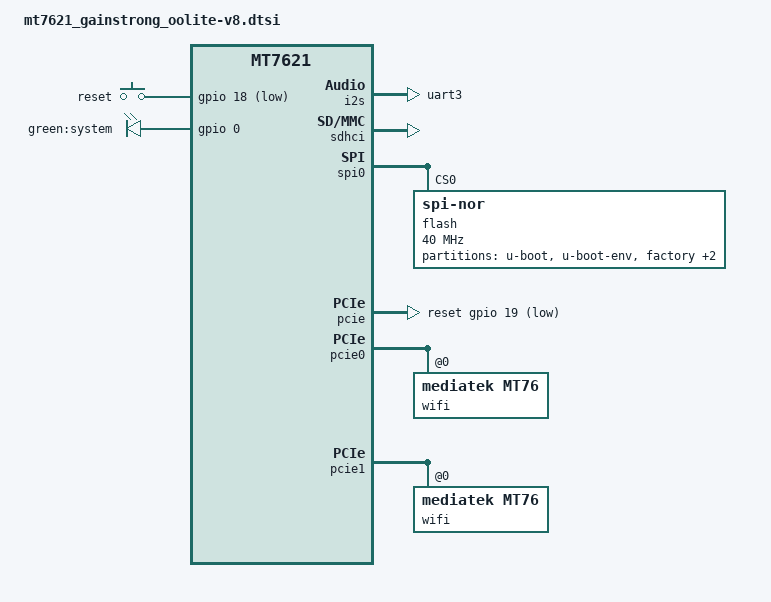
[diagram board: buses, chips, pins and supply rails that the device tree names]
#include "mt7621.dtsi"

#include <dt-bindings/gpio/gpio.h>
#include <dt-bindings/input/input.h>

/ {
	compatible = "gainstrong,oolite-v8", "mediatek,mt7621-soc";

	keys {
		compatible = "gpio-keys";

		reset {
			label = "reset";
			gpios = <&gpio 18 GPIO_ACTIVE_LOW>;
			linux,code = <KEY_RESTART>;
		};
	};

	leds {
		compatible = "gpio-leds";

		system {
			label = "green:system";
			gpios = <&gpio 0 GPIO_ACTIVE_HIGH>;
		};
	};

	codec: max98357a {
		compatible = "maxim,max98357a";
		#sound-dai-cells = <0>;
	};

	// sound {
	// 	compatible = "simple-audio-card";
	// 	simple-audio-card,name = "Audio-I2S";
	// 	simple-audio-card,format = "i2s";
	// 	simple-audio-card,bitclock-master = <&dailink0_master>;
	// 	simple-audio-card,frame-master = <&dailink0_master>;
	// 	simple-audio-card,widgets =
	// 		"Microphone", "Microphone Jack",
	// 		"Headphone", "Headphone Jack";
	// 	simple-audio-card,routing =
	// 		"LINPUT1", "Microphone Jack",
	// 		"RINPUT1", "Microphone Jack",
	// 		"Headphone Jack", "HP_L",
	// 		"Headphone Jack", "HP_R";
	// 	simple-audio-card,mclk-fs = <256>;

	// 	simple-audio-card,cpu {
	// 		sound-dai = <&i2s>;
	// 	};

	// 	dailink0_master: simple-audio-card,codec {
	// 		sound-dai = <&codec>;
	// 	};
	// };
};

&state_default {
	gpio {
		groups = "jtag", "wdt";
		function = "gpio";
	};

	i2s_pins: i2s {
		groups = "uart3";
		function = "i2s";
	};
};


&i2s {
	#sound-dai-cells = <0>;
	status = "okay";
	pinctrl-names = "default";
	pinctrl-0 = <&i2s_pins>;
};

&sdhci {
	status = "okay";
};

&spi0 {
	status = "okay";

	flash@0 {
		compatible = "jedec,spi-nor";
		reg = <0>;
		spi-max-frequency = <40000000>;
		m25p,fast-read;

		partitions {
			compatible = "fixed-partitions";
			#address-cells = <1>;
			#size-cells = <1>;

			partition@0 {
				label = "u-boot";
				reg = <0x0 0x30000>;
				read-only;
			};

			partition@30000 {
				label = "u-boot-env";
				reg = <0x30000 0x10000>;
			};

			factory: partition@40000 {
				label = "factory";
				reg = <0x40000 0x10000>;
				read-only;
			};

			firmware: partition@50000 {
				compatible = "denx,uimage";
				label = "firmware";
				reg = <0x50000 0x1000000>;
			};

			// Whole flash size, available for full flash backup
			all: partition@all {
				label = "all";
				read-only;
			};

		};
	};
};

&pcie {
	status = "okay";
	reset-gpios =
		// MT7603 and MT7613 on Oolite V8.1 share GPIO 19 reset, and can only be reset once, so the second reset GPIO must be left empty
		<&gpio 19 GPIO_ACTIVE_LOW>,
	    <>,
	    <>;
};

&pcie0 {
	// MT7603 on Oolite V8.1 PCIe 0
	wifi@0,0 {
		compatible = "mediatek,mt76";
		reg = <0x0 0 0 0 0>;
		mediatek,mtd-eeprom = <&factory 0x0>;
	};
};

&pcie1 {
	// MT7613 on Oolite V8.1 PCIe 1
	wifi@0,0 {
		compatible = "mediatek,mt76";
		reg = <0x0 0 0 0 0>;
		mediatek,mtd-eeprom = <&factory 0x8000>;
	};
};

&factory {
	compatible = "nvmem-cells";
	#address-cells = <1>;
	#size-cells = <1>;

	macaddr_factory_28: macaddr@28 {
		reg = <0x28 0x6>;
	};

	macaddr_factory_2e: macaddr@2e {
		reg = <0x2e 0x6>;
	};
};

&gmac0 {
	nvmem-cells = <&macaddr_factory_28>;
	nvmem-cell-names = "mac-address";
};

&switch0 {
	ports {
		port@0 {
			status = "okay";
			label = "lan1";
		};

		port@1 {
			status = "okay";
			label = "lan2";
		};

		port@2 {
			status = "okay";
			label = "lan3";
		};

		port@3 {
			status = "okay";
			label = "lan4";
		};

		port@4 {
			status = "okay";
			label = "wan";
			nvmem-cells = <&macaddr_factory_2e>;
			nvmem-cell-names = "mac-address";
		};
	};
};

